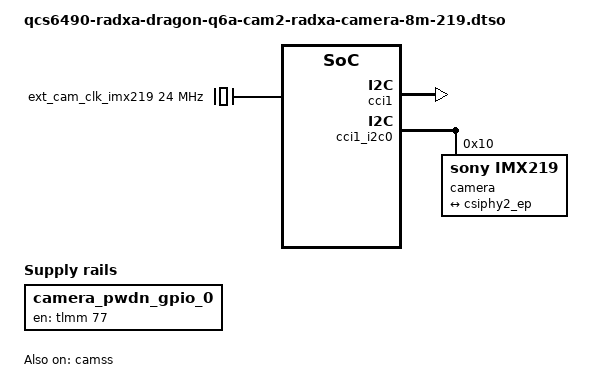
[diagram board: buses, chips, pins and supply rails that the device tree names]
// SPDX-License-Identifier: BSD-3-Clause
/*
 * Copyright (c) 2025 Radxa Computer (Shenzhen) Co., Ltd.
 */

/dts-v1/;
/plugin/;

#include <dt-bindings/clock/qcom,camcc-sc7280.h>
#include <dt-bindings/gpio/gpio.h>

&{/} {
	ext_cam_clk_imx219: ext-cam-clk-imx219 {
		status = "okay";
		compatible = "fixed-clock";
		clock-frequency = <24000000>;
		clock-output-names = "ext_cam_clk_imx219";
		#clock-cells = <0>;
	};

	camera_pwdn_gpio_0: camera-pwdn-gpio-0 {
		status = "okay";
		compatible = "regulator-fixed";
		regulator-name = "camera_pwdn_gpio_0";
		regulator-always-on;
		regulator-boot-on;
		enable-active-high;
		gpios = <&tlmm 77 GPIO_ACTIVE_HIGH>;
		pinctrl-names = "default";
		pinctrl-0 = <&cam_pwdn_gpio_0>;
	};
};

&{/reserved-memory} {
	linux,cma {
		compatible = "shared-dma-pool";
		size = <0x0 0x8000000>;
		reusable;
		linux,cma-default;
	};
};

&camss {
	vdda-phy-supply = <&vreg_l10c_0p88>;
	vdda-pll-supply = <&vreg_l6b_1p2>;

	status = "okay";

	ports {
		#address-cells = <1>;
		#size-cells = <0>;

		/* The port index denotes CSIPHY id i.e. csiphy2 */
		port@2 {
			reg = <2>;

			csiphy2_ep: endpoint {
				clock-lanes = <7>;
				data-lanes = <0 1>;
				remote-endpoint = <&imx219_0_ep>;
			};
		};
	};
};

&cci1 {
	status = "okay";
};

&cci1_i2c0 {
	#address-cells = <1>;
	#size-cells = <0>;
	status = "okay";

	camera@10 {
		compatible = "sony,imx219";
		reg = <0x10>;
		clocks = <&ext_cam_clk_imx219>;
		clock-names = "ext_cam_clk_imx219";

		port {
			imx219_0_ep: endpoint {
				link-frequencies = /bits/ 64 <456000000>;
				data-lanes = <1 2>;
				remote-endpoint = <&csiphy2_ep>;
			};
		};
	};
};

&tlmm {
	cam_pwdn_gpio_0: cam-pwdn-gpio-0-state {
		pins = "gpio77";
		function = "gpio";
		drive-strength = <2>;
		bias-pull-up;
	};
};
